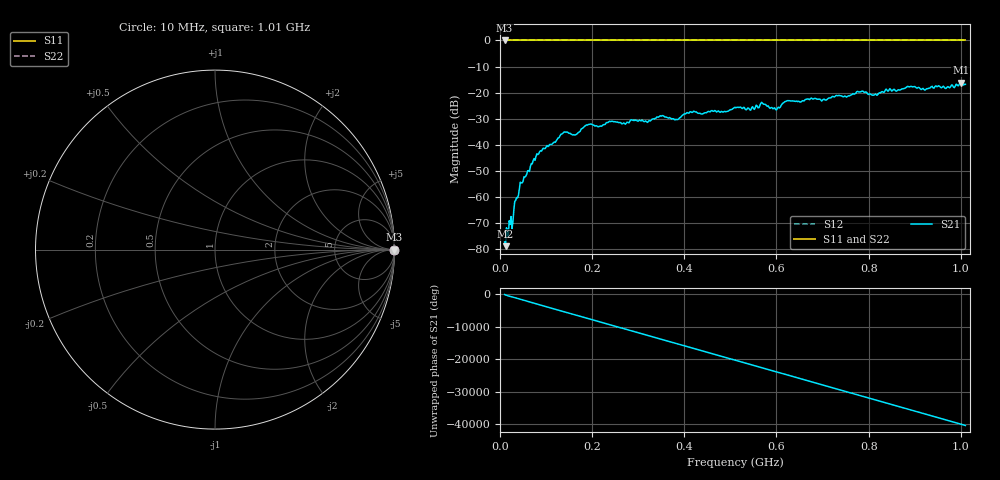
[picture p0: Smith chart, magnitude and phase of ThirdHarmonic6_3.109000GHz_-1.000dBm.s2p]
! 8/17/2025 9:11:45 AM
! C:\ANRITSUVNA\TEMP\TEMP.S2P
! CHANNEL.1
! TR.MEASUREMENT
! RAW.DATA
! RF.CORRECTION.OFF
! AVERAGING.OFF
! IF.BANDWIDTH: 5KHZ
! SWEEPTYPE:  FREQ.SWEEP(Linear)
! Reference Plane Port Info
! PORT:  PORT1  PORT2
! DISTANCE:  0  m  0  m
! TIME:  0  s  0  s
! PHASE.OFFSET:  0  deg.  0  deg.
! LOSS:  0  dB  0  dB
! REF.LOSS:  0  dB  0  dB
! REF.FREQ:  0  Hz  0  Hz
! Power Info
! POWER:  -20  dBm  -20  dBm
! EFF.POWER:  -20  dBm  -20  dBm
! SOURCE.ATTEN:  0  dB  0  dB
! TEST.ATTEN:  0  dB  0  dB
# GHZ S RI R 50.0
! FREQ.GHZ  S11RE  S11IM  S21RE  S21IM  S12RE  S12IM  S22RE  S22IM
!; PortSelection: Port_12
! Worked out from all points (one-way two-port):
!   501 points, 10 MHz to 1.01 GHz, reference 50 ohm
!   highest |S21| = -16.23 dB at 1 GHz (marker M1); lowest = -78.9 dB at 12 MHz (marker M2)
!   lowest |S11| = 0.0 dB at 10 MHz (marker M3)
!   |S11| at or under -10 dB: nowhere
!   |S22| runs from 0.0 to 0.0 dB; largest |S21 - S12| = 1.1
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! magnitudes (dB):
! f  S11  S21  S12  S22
! 10 MHz  0.0  -77.2  0.0  0.0
! 12 MHz  0.0  -78.9  0.0  0.0
! 26 MHz  0.0  -72.1  0.0  0.0
! 34 MHz  0.0  -61.3  0.0  0.0
! 46 MHz  0.0  -54.5  0.0  0.0
! 76 MHz  0.0  -45.9  0.0  0.0
! 136 MHz  0.0  -35.6  0.0  0.0
! 162 MHz  0.0  -36.3  0.0  0.0
! 178 MHz  0.0  -33.8  0.0  0.0
! 194 MHz  0.0  -32.1  0.0  0.0
! 344 MHz  0.0  -29.4  0.0  0.0
! 382 MHz  0.0  -30.2  0.0  0.0
! 416 MHz  0.0  -27.6  0.0  0.0
! 510 MHz  0.0  -25.6  0.0  0.0
! 548 MHz  0.0  -25.4  0.0  0.0
! 570 MHz  0.0  -24.1  0.0  0.0
! 598 MHz  0.0  -26.5  0.0  0.0
! 622 MHz  0.0  -23.2  0.0  0.0
! 678 MHz  0.0  -22.4  0.0  0.0
! 844 MHz  0.0  -19.1  0.0  0.0
! 1 GHz  0.0  -16.2  0.0  0.0
! 1.01 GHz  0.0  -16.8  0.0  0.0
